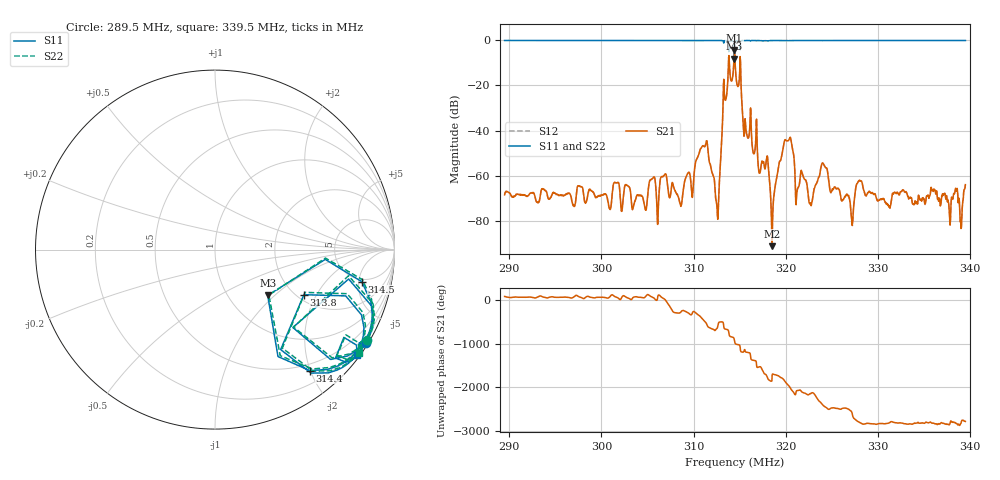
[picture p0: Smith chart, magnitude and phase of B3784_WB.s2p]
! Matrix data file written by TouchstoneData, EPCOS AG
! FILENAME: "B3784_WB.s2p"
! COMMENT: "PCB: 2009; PINNING: 25; PORTEXT1: 97ps; PORT"
! INFO: nport=2, nfreq=1601
! DATE: "Wed Jul  2 16:30:08 2008"
! USER: "Thomas Telgmann"
! port | pin | signal
!  1  |  2  |  in
!  2  |  5  |  out
# MHZ S MA R 50
! freq  magS11 angS11  magS21 angS21  magS12 angS12  magS22 angS22
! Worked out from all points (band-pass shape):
!   1601 points, 289.5 MHz to 339.5 MHz, reference 50 ohm
!   highest |S21| = -4.36 dB at 314.4 MHz (marker M1); lowest = -91.0 dB at 318.5 MHz (marker M2)
!   |S21| within 3 dB of the highest: 313.8225 MHz to 313.8525 MHz (30 kHz wide, 0.00956 % of centre); 314.3952 MHz to 314.4864 MHz (91.26 kHz wide, 0.029 % of centre) (the widest 2 of 3)
!   lowest |S11| = -8.2 dB at 314.4 MHz (marker M3), VSWR 2.27, Z = 75.3 - j45.2 ohm
!   |S11| at or under -10 dB: nowhere
!   |S22| runs from -8.1 to -0.1 dB; largest |S21 - S12| = 0.00055
!   S11 on the Smith chart (normalised r, x): 289.5 MHz: 0.07, -3.53; 313.8 MHz: 2.18, -1.58; 314.4 MHz: 0.39, -1.99; 314.5 MHz: 4.60, -5.47; 339.5 MHz: 0.07, -3.01
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289.5  0.9889 -31.6  0.000384 79.2  0.000388 81.4  0.9882 -30.8
297.8438  0.9886 -32.6  0.0005794 53.3  0.0005784 53.6  0.9876 -31.7
306.1875  0.9871 -33.8  0.000223 110.2  0.0002207 111.1  0.9863 -32.9
306.8125  0.987 -33.9  0.001038 24.6  0.001032 24.5  0.9863 -32.9
308.5938  0.9879 -34.3  0.0002238 75.0  0.0002234 77.0  0.9869 -33.3
311.25  0.9851 -35.0  0.004538 -138.0  0.004542 -137.9  0.9839 -34.1
312.5625  0.9867 -36.1  0.000181 72.0  0.0001896 72.3  0.9859 -35.2
313.25  0.9031 -42.0  0.1028 175.8  0.1027 175.8  0.9 -40.9
313.8438  0.5554 -26.9  0.4577 -51.9  0.4572 -51.9  0.5557 -25.4
314.375  0.8563 -51.9  0.34 -153.7  0.3397 -153.7  0.8575 -50.9
314.4375  0.3889 -41.0  0.6053 153.1  0.605 153.1  0.3929 -40.2
314.5  0.8366 -12.3  0.3646 91.7  0.3643 91.7  0.8375 -11.5
315.625  0.9835 -31.1  0.01507 -103.5  0.01506 -103.5  0.9823 -30.1
318.5312  0.9855 -33.5  2.816e-05 82.1  3.098e-05 81.7  0.984 -32.5
320.3125  0.9811 -34.1  0.006129 -158.8  0.006118 -158.7  0.9804 -33.2
321.25  0.9863 -34.1  0.000489 84.9  0.0004803 86.2  0.9854 -33.2
322.8438  0.9861 -34.6  0.0002651 35.0  0.0002578 34.0  0.9853 -33.6
324.0938  0.9853 -34.7  0.001843 101.1  0.001844 101.3  0.9845 -33.7
327.1562  0.9868 -35.2  0.000114 -40.1  0.000105 -34.6  0.9863 -34.2
328  0.9865 -35.3  0.0007866 79.7  0.0007876 80.4  0.9861 -34.3
331.1875  0.9872 -35.7  0.0002156 62.0  0.0002147 62.1  0.9864 -34.7
339.5  0.9865 -36.7  0.0006447 100.7  0.0006445 100.4  0.9857 -35.6
